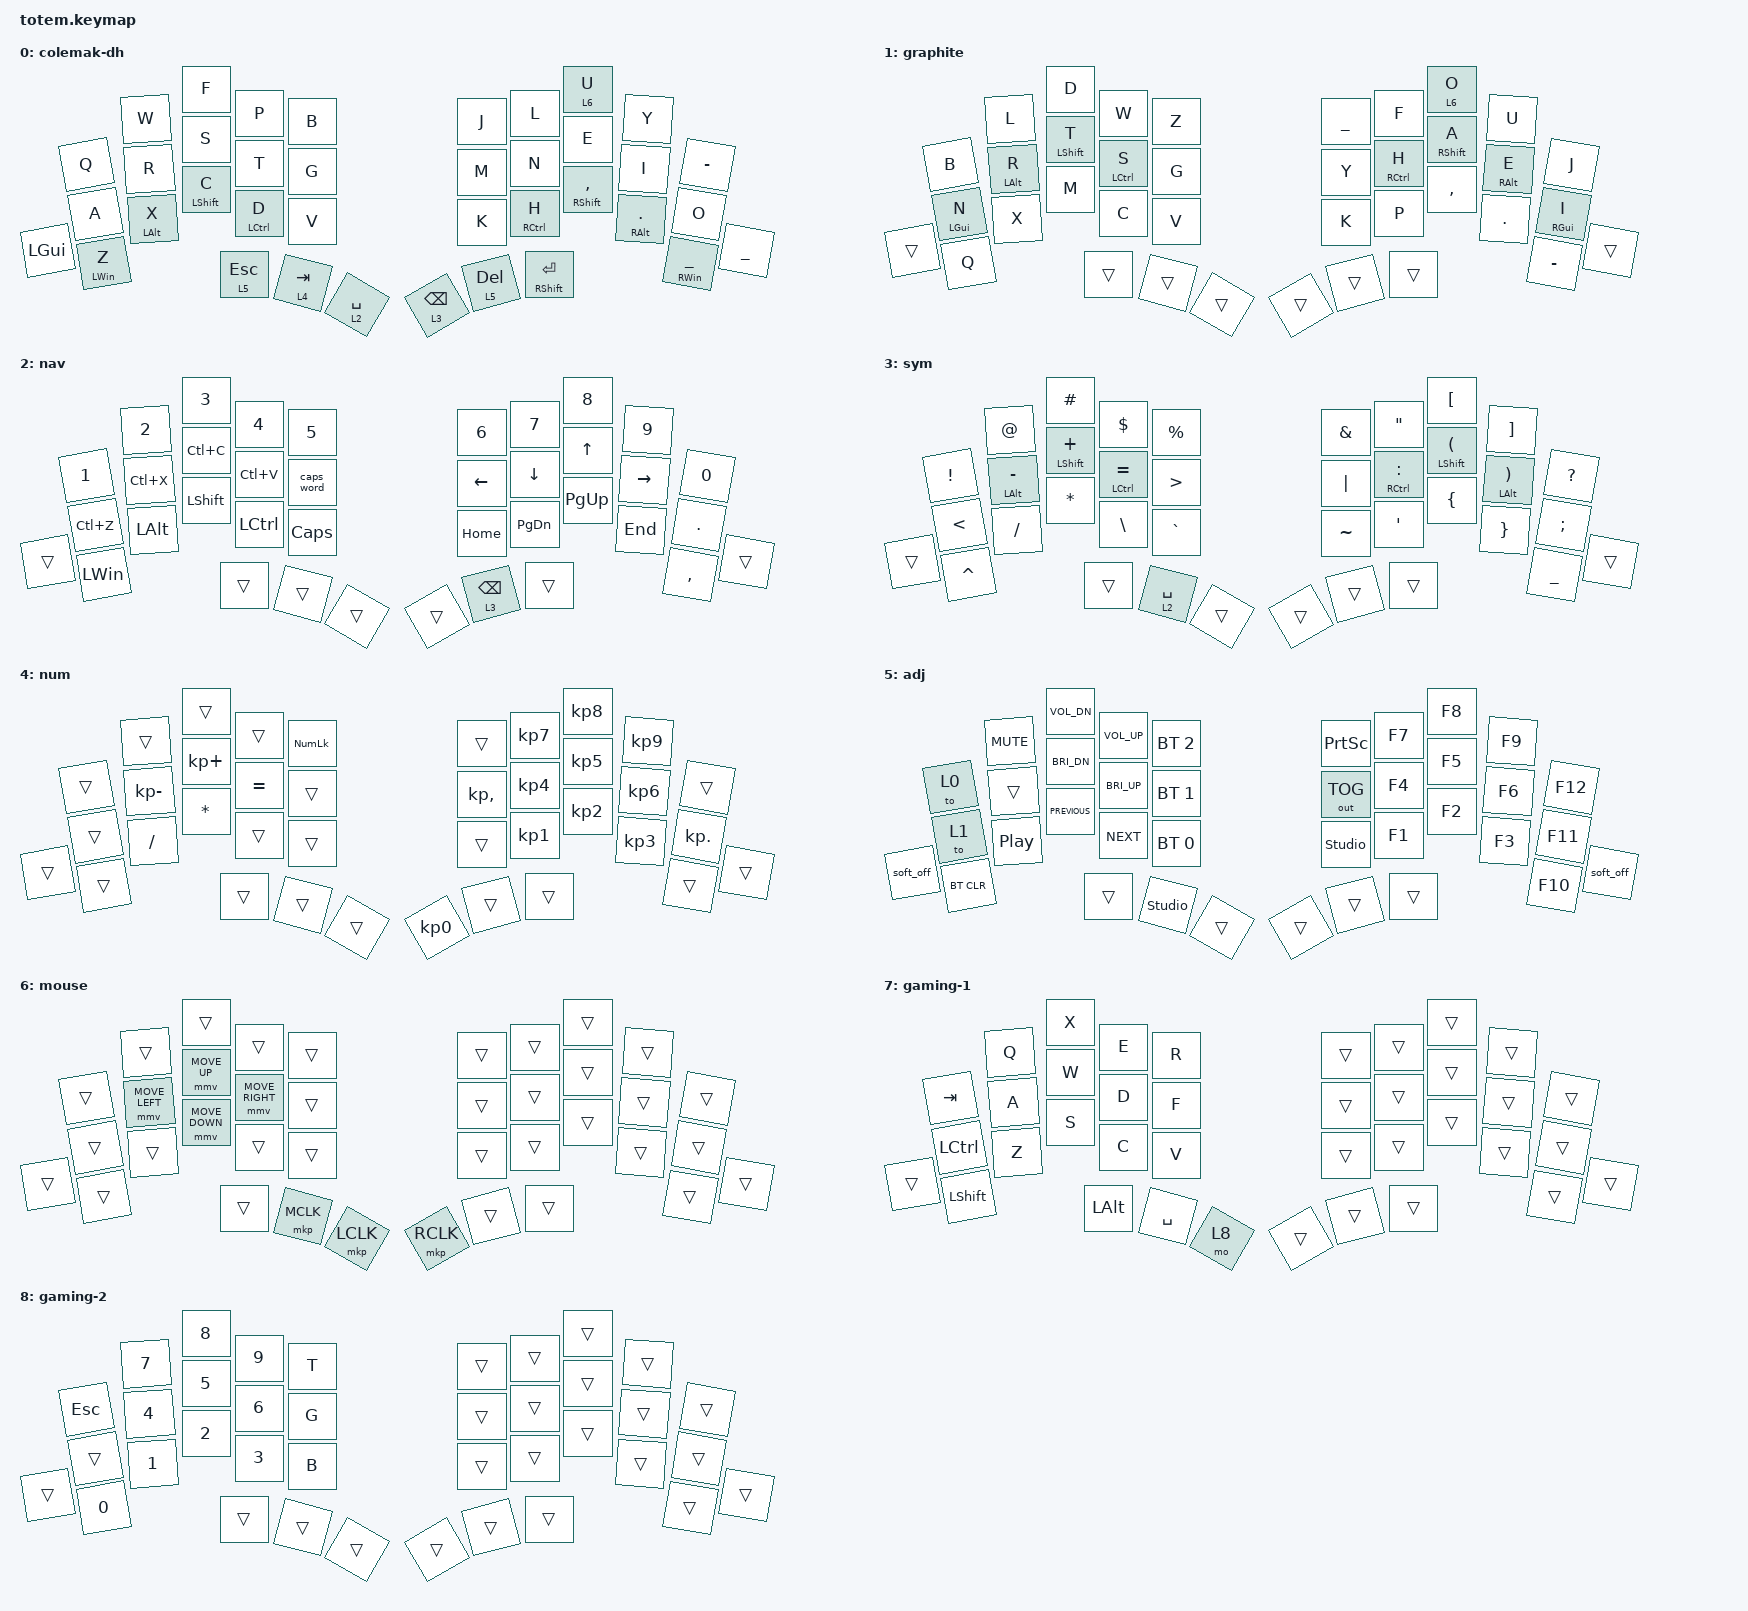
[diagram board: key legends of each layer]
//
//                                                        ▀▀▀▀▀     ▀▀▀▀▀          ▀▀█▀▀
//                                                        ▄▀▀▀▄  ▄  ▄▀▀▀▄  ▄  ▄▀▀▀▄  █  ▄▀▀▀▄
//                                                        █   █  █  █   █  █  █   █  █  █   █
//                                                         ▀▀▀   █   ▀▀▀   █   ▀▀▀   ▀   ▀▀▀
//                                                               █      ▄▄▄█▄▄▄    █   █  
//                                                               ▀      █  █  █     █▄█
//                                                             ▀▀▀▀▀    █  █  █      ▀
//                                                                      ▀  ▀  ▀
//
// ▄▄▄▄▄▄▄▄▄▄▄▄▄▄▄▄▄▄▄▄▄▄▄▄▄▄▄▄▄▄▄▄▄▄▄▄▄▄▄▄▄▄▄▄▄▄▄▄▄▄▄▄▄▄▄▄▄▄▄▄▄▄▄▄▄▄▄▄▄▄▄▄▄▄▄▄▄▄▄▄▄▄▄▄▄▄▄▄▄▄▄▄▄▄▄▄▄▄▄▄▄▄▄▄▄▄▄▄▄▄▄▄▄▄▄▄▄▄▄▄▄▄▄▄▄▄▄▄▄▄▄▄▄▄▄▄▄▄▄▄▄▄▄▄▄▄▄▄▄

#include <behaviors.dtsi>
#include <dt-bindings/zmk/bt.h>
#include <dt-bindings/zmk/keys.h>
#include <dt-bindings/zmk/outputs.h>
#include <dt-bindings/zmk/pointing.h>

#define BASE 0
#define NAV  1
#define SYM  2
#define ADJ  3
#define TVP1 4
#define TVP2 5

&mt {
    quick-tap-ms = <100>;
    global-quick-tap;
    flavor = "tap-preferred";
    tapping-term-ms = <170>;
};

/ {
    combos {
        compatible = "zmk,combos";

        combo_enter {
            bindings = <&kp ENTER>;
            key-positions = <28 29>;
            require-prior-idle-ms = <200>;
        };

        combo_esc {
            bindings = <&kp ESCAPE>;
            key-positions = <1 2>;
            require-prior-idle-ms = <200>;
        };

        combo_tab {
            bindings = <&kp TAB>;
            key-positions = <22 23>;
            layers = <0 1 2 3 4 5>;
            require-prior-idle-ms = <200>;
        };

        combo_accent_acute {
            bindings = <&kp LC(SQT)>;
            key-positions = <6 7>;
            timeout-ms = <200>;
        };

        combo_accent_grave {
            bindings = <&kp LC(GRAVE)>;
            key-positions = <7 8>;
            timeout-ms = <200>;
        };

        combo_accent_dots {
            bindings = <&kp LC(COLON)>;
            key-positions = <6 8>;
            timeout-ms = <200>;
        };

        combo_accent_round {
            bindings = <&kp LC(AT_SIGN)>;
            key-positions = <6 7 8>;
            timeout-ms = <200>;
        };

        combo_delete {
            bindings = <&kp DELETE>;
            key-positions = <8 9>;
            require-prior-idle-ms = <200>;
        };

        sk_rshift {
            bindings = <&sk RSHFT>;
            key-positions = <16 17>;
            require-prior-idle-ms = <200>;
        };

        sk_lsft {
            bindings = <&sk LSHFT>;
            key-positions = <12 13>;
            require-prior-idle-ms = <200>;
        };
    };

    behaviors {
        homerow_l: homerow_l {
            compatible = "zmk,behavior-hold-tap";
            label = "HOMEROW_L";
            bindings = <&kp>, <&kp>;

            #binding-cells = <2>;
            flavor = "tap-preferred";
            hold-trigger-key-positions = <5 6 7 8 9 31 19 18 17 16 15 26 27 28 29 30 5 6 7 8 9 15 16 17 18 19 26 27 28 29 30 5 6 8 9 15 16 17 18 19 26 27 28 29 30 31 32 33 34 35 36 37>;
            hold-trigger-on-release;
            tapping-term-ms = <200>;
            quick-tap-ms = <200>;
            require-prior-idle-ms = <200>;
        };

        homerow_r: homerow_r {
            compatible = "zmk,behavior-hold-tap";
            label = "HOMEROW_R";
            bindings = <&kp>, <&kp>;

            #binding-cells = <2>;
            tapping-term-ms = <200>;
            hold-trigger-on-release;
            hold-trigger-key-positions = <0 1 3 4 10 11 12 13 14 22 23 24 25 2 21 32 33 34 35 36 37 20>;
            quick-tap-ms = <200>;
            require-prior-idle-ms = <200>;
            flavor = "tap-preferred";
        };

        layer_ht: layer_ht {
            compatible = "zmk,behavior-hold-tap";
            label = "LAYER_HT";
            bindings = <&mo>, <&kp>;

            #binding-cells = <2>;
            tapping-term-ms = <200>;
            quick-tap-ms = <200>;
            flavor = "balanced";
        };

        ht: ht {
            compatible = "zmk,behavior-hold-tap";
            label = "HT";
            bindings = <&kp>, <&kp>;

            #binding-cells = <2>;
            tapping-term-ms = <200>;
            quick-tap-ms = <200>;
            flavor = "balanced";
        };

        coma: coma {
            compatible = "zmk,behavior-mod-morph";
            label = "COMA";
            bindings = <&kp COMMA>, <&kp SEMICOLON>;

            #binding-cells = <0>;
            mods = <(MOD_LSFT|MOD_RSFT)>;
        };

        dot: dot {
            compatible = "zmk,behavior-mod-morph";
            label = "DOT";
            bindings = <&kp DOT>, <&kp COLON>;

            #binding-cells = <0>;
            mods = <(MOD_LSFT|MOD_RSFT)>;
        };

        underscore: underscore {
            compatible = "zmk,behavior-mod-morph";
            label = "UNDERSCORE";
            bindings = <&kp UNDERSCORE>, <&kp MINUS>;

            #binding-cells = <0>;
            mods = <(MOD_LSFT|MOD_RSFT)>;
        };

        layer_ht_sk: layer_ht_sk {
            compatible = "zmk,behavior-hold-tap";
            label = "LAYER_HT_SK";
            bindings = <&mo>, <&sk>;

            #binding-cells = <2>;
            tapping-term-ms = <200>;
            flavor = "balanced";
        };
    };

    keymap {
        compatible = "zmk,keymap";

        // ▄▄▄▄▄▄▄▄▄▄▄▄▄▄▄▄▄▄▄▄▄▄▄▄▄▄▄▄▄▄▄▄▄▄▄▄▄▄▄▄▄▄▄▄▄▄▄▄▄▄▄▄▄▄▄▄▄▄▄▄▄▄▄▄▄▄▄▄▄▄▄▄▄▄▄▄▄▄▄▄▄▄▄▄▄▄▄▄▄▄▄▄▄▄▄▄▄▄▄▄▄▄▄▄▄▄▄▄▄▄▄▄▄▄▄▄▄▄▄▄▄▄▄▄▄▄▄▄▄▄▄▄▄▄▄▄▄▄▄▄▄▄▄▄▄▄▄▄▄

        colemak-dh {
            bindings = <
              &kp Q                  &kp W                  &kp F                &kp P               &kp B                &kp J                  &kp L               &layer_ht 6 U            &kp Y                     &kp MINUS
              &kp A                  &kp R                  &kp S                &kp T               &kp G                &kp M                  &kp N               &kp E                    &kp I                     &kp O
&kp LEFT_GUI  &homerow_l LEFT_WIN Z  &homerow_l LEFT_ALT X  &homerow_l LSHIFT C  &homerow_r LCTRL D  &kp V                &kp K                  &homerow_r RCTRL H  &homerow_r RSHIFT COMMA  &homerow_r RIGHT_ALT DOT  &homerow_r RWIN UNDER  &kp UNDER
                                                            &layer_ht 5 ESCAPE   &layer_ht 4 TAB     &layer_ht 2 SPACE    &layer_ht 3 BACKSPACE  &layer_ht 5 DELETE  &mt RSHFT ENTER
            >;
        };

        graphite {
            bindings = <
        &kp B              &kp L              &kp D               &kp W               &kp Z     &kp UNDERSCORE  &kp F               &layer_ht 6 O       &kp U              &kp J
        &homerow_l LGUI N  &homerow_l LALT R  &homerow_l LSHFT T  &homerow_l LCTRL S  &kp G     &kp Y           &homerow_r RCTRL H  &homerow_r RSHFT A  &homerow_r RALT E  &homerow_r RGUI I
&trans  &kp Q              &kp X              &kp M               &kp C               &kp V     &kp K           &kp P               &kp COMMA           &kp DOT            &kp MINUS          &trans
                                              &trans              &trans              &trans    &trans          &trans              &trans
            >;
        };

        nav {
            bindings = <
        &kp N1     &kp N2        &kp N3      &kp N4     &kp N5        &kp N6    &kp N7                 &kp N8     &kp N9     &kp N0
        &kp LC(Z)  &kp LC(X)     &kp LC(C)   &kp LC(V)  &caps_word    &kp LEFT  &kp DOWN               &kp UP     &kp RIGHT  &kp PERIOD
&trans  &kp LWIN   &kp LEFT_ALT  &kp LSHIFT  &kp LCTRL  &kp CAPS      &kp HOME  &kp PG_DN              &kp PG_UP  &kp END    &kp COMMA   &trans
                                 &trans      &trans     &trans        &trans    &layer_ht 3 BACKSPACE  &trans
            >;
        };

        sym {
            bindings = <
        &kp EXCLAMATION  &kp AT                     &kp HASH               &kp DOLLAR              &kp PERCENT         &kp AMPS   &kp DOUBLE_QUOTES       &kp LBKT                           &kp RBKT                           &kp QUESTION
        &kp LESS_THAN    &homerow_l LEFT_ALT MINUS  &homerow_l LSHFT PLUS  &homerow_l LCTRL EQUAL  &kp GREATER_THAN    &kp PIPE   &homerow_r RCTRL COLON  &homerow_r LSHFT LEFT_PARENTHESIS  &homerow_r LALT RIGHT_PARENTHESIS  &kp SEMICOLON
&trans  &kp CARET        &kp SLASH                  &kp ASTERISK           &kp BACKSLASH           &kp GRAVE           &kp TILDE  &kp SQT                 &kp LEFT_BRACE                     &kp RIGHT_BRACE                    &kp UNDERSCORE  &trans
                                                    &trans                 &layer_ht 2 SPACE       &trans              &trans     &trans                  &trans
            >;
        };

        num {
            bindings = <
        &trans  &trans        &trans        &trans     &kp KP_NUM    &trans        &kp KP_NUMBER_7  &kp KP_NUMBER_8  &kp KP_NUMBER_9  &trans
        &trans  &kp KP_MINUS  &kp KP_PLUS   &kp EQUAL  &trans        &kp KP_COMMA  &kp KP_NUMBER_4  &kp KP_NUMBER_5  &kp KP_NUMBER_6  &kp KP_DOT
&trans  &trans  &kp SLASH     &kp ASTERISK  &trans     &trans        &trans        &kp KP_NUMBER_1  &kp KP_NUMBER_2  &kp KP_NUMBER_3  &trans      &trans
                              &trans        &trans     &trans        &kp KP_N0     &trans           &trans
            >;
        };

        adj {
            bindings = <
           &to 0       &kp C_MUTE  &kp C_VOL_DN    &kp C_VOLUME_UP  &bt BT_SEL 2    &kp PRINTSCREEN  &kp F7  &kp F8  &kp F9  &kp F12
           &to 1       &trans      &kp C_BRI_DN    &kp C_BRI_UP     &bt BT_SEL 1    &out OUT_TOG     &kp F4  &kp F5  &kp F6  &kp F11
&soft_off  &bt BT_CLR  &kp C_PP    &kp C_PREVIOUS  &kp C_NEXT       &bt BT_SEL 0    &studio_unlock   &kp F1  &kp F2  &kp F3  &kp F10  &soft_off
                                   &trans          &studio_unlock   &trans          &trans           &trans  &trans
            >;
        };

        mouse {
            bindings = <
        &trans  &trans          &trans          &trans           &trans       &trans     &trans  &trans  &trans  &trans
        &trans  &mmv MOVE_LEFT  &mmv MOVE_UP    &mmv MOVE_RIGHT  &trans       &trans     &trans  &trans  &trans  &trans
&trans  &trans  &trans          &mmv MOVE_DOWN  &trans           &trans       &trans     &trans  &trans  &trans  &trans  &trans
                                &trans          &mkp MCLK        &mkp LCLK    &mkp RCLK  &trans  &trans
            >;
        };

        gaming-1 {
            bindings = <
        &kp TAB    &kp Q  &kp X     &kp E      &kp R    &trans  &trans  &trans  &trans  &trans
        &kp LCTRL  &kp A  &kp W     &kp D      &kp F    &trans  &trans  &trans  &trans  &trans
&trans  &kp LSHFT  &kp Z  &kp S     &kp C      &kp V    &trans  &trans  &trans  &trans  &trans  &trans
                          &kp LALT  &kp SPACE  &mo 8    &trans  &trans  &trans
            >;
        };

        gaming-2 {
            bindings = <
        &kp ESCAPE  &kp N7  &kp N8  &kp N9  &kp T     &trans  &trans  &trans  &trans  &trans
        &trans      &kp N4  &kp N5  &kp N6  &kp G     &trans  &trans  &trans  &trans  &trans
&trans  &kp N0      &kp N1  &kp N2  &kp N3  &kp B     &trans  &trans  &trans  &trans  &trans  &trans
                            &trans  &trans  &trans    &trans  &trans  &trans
            >;
        };
    };
};
